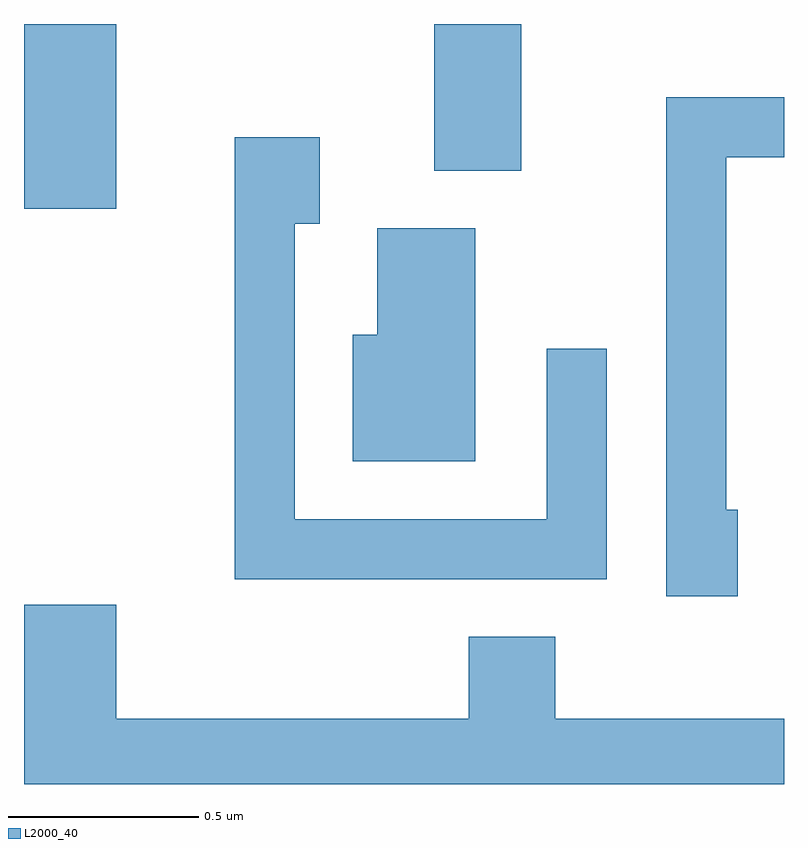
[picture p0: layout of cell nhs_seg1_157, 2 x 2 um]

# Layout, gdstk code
import gdstk
lib = gdstk.Library(unit=1e-6, precision=1e-09)
def R(c, l, rs):  # rectangles x0, y0, x1, y1
    for r in rs: c.add(gdstk.rectangle(r[:2], r[2:], *l))
def P(c, l, *ps):  # polygons
    for p in ps: c.add(gdstk.Polygon(p, *l))
L2000_40 = (2000, 40)

nhs_seg1_157 = lib.new_cell('nhs_seg1_157')
R(nhs_seg1_157, L2000_40, [(186.611,861.226,186.854,861.712), (187.691,861.326,187.919,861.712)])
P(nhs_seg1_157, L2000_40, [(188.489,860.434),(188.459,860.434),(188.459,861.361),(188.611,861.361),(188.611,861.519),(188.301,861.519),(188.301,860.206),(188.489,860.206)],
  [(188.144,860.858),(187.986,860.858),(187.986,860.409),(187.324,860.409),(187.324,861.186),(187.389,861.186),(187.389,861.414),(187.166,861.414),(187.166,860.251),(188.144,860.251)],
  [(187.799,861.174),(187.541,861.174),(187.541,860.894),(187.476,860.894),(187.476,860.561),(187.799,860.561)],
  [(188.611,859.884),(188.009,859.884),(188.009,860.099),(187.781,860.099),(187.781,859.884),(186.854,859.884),(186.854,860.184),(186.611,860.184),(186.611,859.712),(188.611,859.712)])

lib.write_gds('nhs_seg1_157.gds')
